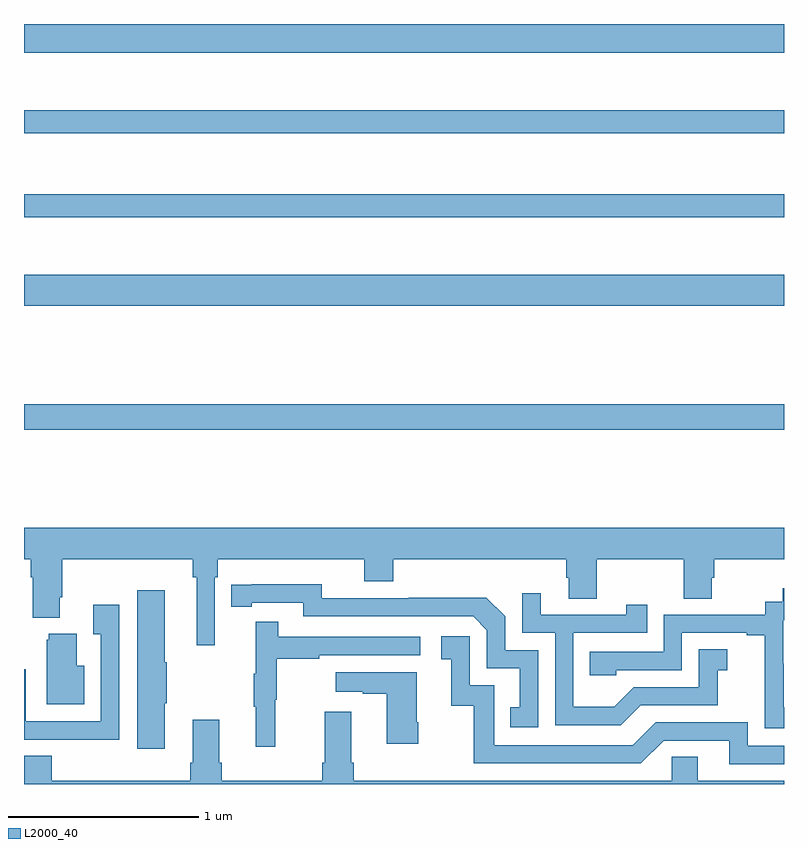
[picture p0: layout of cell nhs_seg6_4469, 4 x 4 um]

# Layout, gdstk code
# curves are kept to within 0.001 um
import gdstk
lib = gdstk.Library(unit=1e-6, precision=1e-09)
def R(c, l, rs):  # rectangles x0, y0, x1, y1
    for r in rs: c.add(gdstk.rectangle(r[:2], r[2:], *l))
def P(c, l, *ps):  # polygons
    for p in ps: c.add(gdstk.Polygon(p, *l))
L2000_40 = (2000, 40)

nhs_seg6_4469 = lib.new_cell('nhs_seg6_4469')
R(nhs_seg6_4469, L2000_40, [(375,933.364,379,933.5), (375,934.016,379,934.18), (375,934.482,379,934.603), (375,934.926,379,935.047), (375,935.348,379,935.5)])
P(nhs_seg6_4469, L2000_40, [(375,932.684),(375.035,932.684),(375.035,932.588),(375.047,932.588),(375.047,932.375),(375.187,932.375),(375.187,932.482),(375.2,932.482),(375.2,932.684),(375.889,932.684),(375.889,932.588),(375.908,932.588),(375.908,932.229),(376.005,932.229),(376.005,932.588),(376.019,932.588),(376.019,932.684),(376.79,932.684),(376.79,932.567),(376.943,932.567),(376.943,932.684),(377.855,932.684),(377.855,932.586),(377.867,932.586),(377.867,932.476),(378.015,932.476),(378.015,932.684),(378.472,932.684),(378.472,932.476),(378.619,932.476),(378.619,932.586),(378.632,932.586),(378.632,932.684),(379,932.684),(379,932.848),(375,932.848)],
  [(377.706,932.205),(377.532,932.205),(377.532,932.382),(377.434,932.48),(377.026,932.48),(377.026,932.478),(376.566,932.478),(376.566,932.551),(376.09,932.55),(376.09,932.434),(376.198,932.434),(376.198,932.454),(376.47,932.454),(376.47,932.382),(377.364,932.382),(377.436,932.31),(377.436,932.109),(377.609,932.109),(377.609,931.905),(377.56,931.905),(377.56,931.8),(377.706,931.8)],
  [(379,931.903),(378.998,931.903),(378.998,932.132),(378.996,932.132),(378.996,932.361),(379,932.361),(379,932.53),(378.993,932.53),(378.993,932.46),(378.9,932.46),(378.9,932.391),(378.366,932.391),(378.366,932.196),(377.977,932.196),(377.977,932.073),(378.117,932.073),(378.117,932.1),(378.462,932.1),(378.462,932.295),(378.803,932.295),(378.803,932.283),(378.899,932.283),(378.899,931.999),(378.898,931.999),(378.898,931.793),(379,931.793)],
  [(375.742,931.924),(375.75,931.924),(375.75,932.141),(375.742,932.141),(375.742,932.521),(375.596,932.521),(375.596,931.686),(375.742,931.686)],
  [(378.247,931.914),(378.651,931.914),(378.651,932.099),(378.7,932.099),(378.7,932.209),(378.552,932.209),(378.552,932.01),(378.21,932.01),(378.106,931.906),(377.892,931.906),(377.892,932.295),(378.281,932.295),(378.281,932.443),(378.17,932.443),(378.17,932.391),(377.719,932.391),(377.719,932.503),(377.622,932.503),(377.622,932.295),(377.796,932.295),(377.796,931.809),(378.142,931.809)],
  [(375.501,932.443),(375.365,932.443),(375.365,932.287),(375.405,932.287),(375.405,931.83),(375.009,931.83),(375.009,932.104),(375,932.104),(375,931.734),(375.229,931.734),(375.229,931.733),(375.501,931.733)],
  [(376.322,931.944),(376.33,931.944),(376.33,932.158),(376.553,932.158),(376.553,932.178),(377.086,932.178),(377.086,932.274),(376.337,932.274),(376.337,932.353),(376.22,932.353),(376.22,932.081),(376.209,932.081),(376.209,931.907),(376.22,931.907),(376.22,931.695),(376.322,931.695)],
  [(375.316,932.122),(375.277,932.122),(375.277,932.29),(375.131,932.29),(375.131,932.259),(375.119,932.259),(375.119,931.919),(375.316,931.919)],
  [(379,931.701),(378.81,931.701),(378.81,931.824),(378.324,931.824),(378.204,931.704),(377.475,931.704),(377.475,932.019),(377.346,932.019),(377.346,932.278),(377.196,932.278),(377.196,932.157),(377.249,932.157),(377.249,931.911),(377.367,931.911),(377.367,931.608),(378.246,931.608),(378.366,931.728),(378.713,931.728),(378.713,931.605),(379,931.605)],
  [(377.076,931.825),(377.068,931.825),(377.068,932.089),(376.641,932.089),(376.641,931.985),(376.784,931.985),(376.784,931.975),(376.91,931.975),(376.91,931.713),(377.076,931.713)],
  [(376.027,931.612),(376.027,931.837),(375.887,931.837),(375.887,931.612),(375.875,931.612),(375.875,931.516),(375.146,931.516),(375.146,931.649),(375,931.649),(375,931.5),(379,931.5),(379,931.516),(378.547,931.516),(378.547,931.643),(378.408,931.643),(378.408,931.516),(376.736,931.516),(376.736,931.612),(376.723,931.612),(376.723,931.879),(376.583,931.879),(376.583,931.612),(376.571,931.612),(376.571,931.516),(376.04,931.516),(376.04,931.612)])

lib.write_gds('nhs_seg6_4469.gds')
